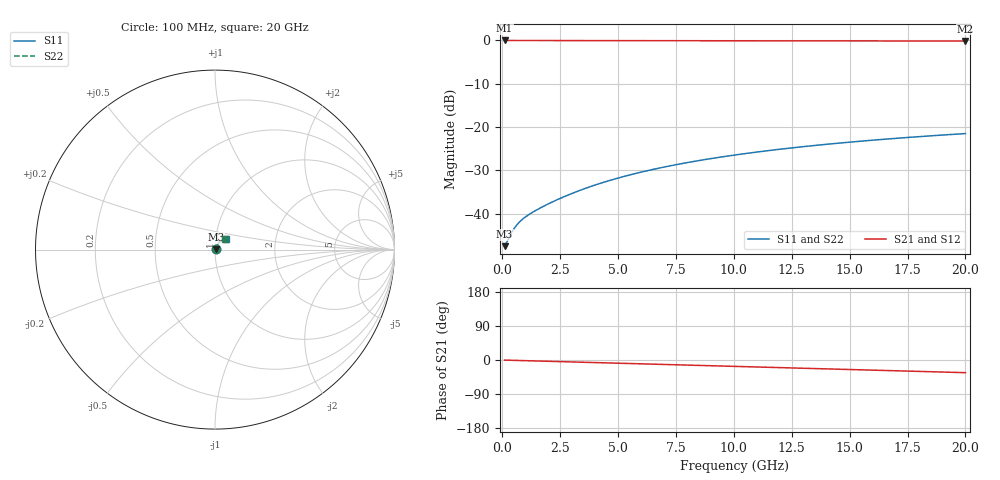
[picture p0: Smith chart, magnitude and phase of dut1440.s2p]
! Touchstone file exported from HFSS 2026.1.0
!  File:  C:/ffzhzh/LocalFiles/Ansys_Project_Files/temp_train_TMRDL_1440_1783167019_55132.aedt
!  Generated:  08:11:29 PM Jul  4, 2026
!  Design:  TMRDL
!  Project:  temp_train_TMRDL_1440_1783167019_55132
! Variables:
!  h_bsmrdl = 2um
!  h_ox = 20um
!  h_rdl = 5um
!  h_sub = 80um
!  h_tmrdl = 2.27um
!  h_tsv = 80um
!  h_via = 3um
!  l_bsmrdl = 300um
!  l_sub = 979.3um
!  l_tmrdl = 579.3um
!  m_sub = 200um
!  pitch = 29.3um
!  r_tsv = 6um
!  s_tmrdl = 10um
!  w_bsmrdl = 18um
!  w_sub = 500um
!  w_tmrdl = 24.11um
!  x_tsv_center1 = 591.355um
!  x_tsv_center2 = 909.355um
!  x_tsv_center3 = 1512.765um
!  x_tsv_center4 = 1830.765um
!  x_tsv_center5 = 2434.175um
!  x_tsv_center6 = 2752.175um
# GHz S MA R 50.000000
! Terminal data exported
! Port[1] = TM_RDL1_1_T1
! Port[2] = TM_RDL1_1_T2
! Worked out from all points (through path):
!   200 points, 100 MHz to 20 GHz, reference 50 ohm
!   highest |S21| = -0.04 dB at 100 MHz (marker M1); lowest = -0.2 dB at 20 GHz (marker M2)
!   group delay of S21, straight-line fit = 4.63 ps
!   lowest |S11| = -47.5 dB at 100 MHz (marker M3), VSWR 1.01, Z = 50.4 + j0.0991 ohm
!   |S11| at or under -10 dB: start of sweep to end of sweep
!   |S22| runs from -47.5 to -21.5 dB; largest |S21 - S12| = 7.6e-15
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0.1  0.004222 13.5  0.9959 -0.2  0.9959 -0.2  0.004222 13.5
! Gamma 0 0 0 0
! Port Impedance 50 0 50 0
0.2  0.004723 23.8  0.9957 -0.4  0.9957 -0.4  0.004724 23.8
0.4  0.00605 34.5  0.995 -0.8  0.995 -0.8  0.00605 34.5
0.5  0.006693 37.1  0.9947 -0.9  0.9947 -0.9  0.006692 37.1
0.6  0.007281 38.8  0.9944 -1.1  0.9944 -1.1  0.007279 38.8
0.7  0.007814 40.2  0.9941 -1.3  0.9941 -1.3  0.007812 40.1
0.8  0.0083 41.3  0.9939 -1.5  0.9939 -1.5  0.008298 41.3
1  0.009175 43.4  0.9935 -1.8  0.9935 -1.8  0.009171 43.3
1.5  0.01112 48.1  0.993 -2.6  0.993 -2.6  0.01111 48.2
2.1  0.01342 53.0  0.9926 -3.6  0.9926 -3.6  0.01342 53.0
2.8  0.01626 57.1  0.9923 -4.8  0.9923 -4.8  0.01625 57.1
3.5  0.01922 59.8  0.992 -6.0  0.992 -6.0  0.01922 59.8
4.2  0.02226 61.4  0.9917 -7.2  0.9917 -7.2  0.02225 61.4
5  0.02578 62.4  0.9913 -8.5  0.9913 -8.5  0.02577 62.4
5.9  0.02975 62.7  0.9908 -10.0  0.9908 -10.0  0.02975 62.8
6.8  0.0337 62.6  0.9902 -11.5  0.9902 -11.5  0.0337 62.6
8.4  0.04062 61.5  0.9892 -14.2  0.9892 -14.2  0.04062 61.6
10.1  0.04777 59.7  0.9879 -17.1  0.9879 -17.1  0.04777 59.8
11.7  0.05427 57.7  0.9867 -19.7  0.9867 -19.7  0.05426 57.9
13.4  0.0609 55.4  0.9854 -22.6  0.9854 -22.6  0.0609 55.6
16.7  0.07297 50.6  0.9827 -28.0  0.9827 -28.0  0.07297 50.8
20  0.08395 45.7  0.9802 -33.4  0.9802 -33.4  0.08395 45.9
